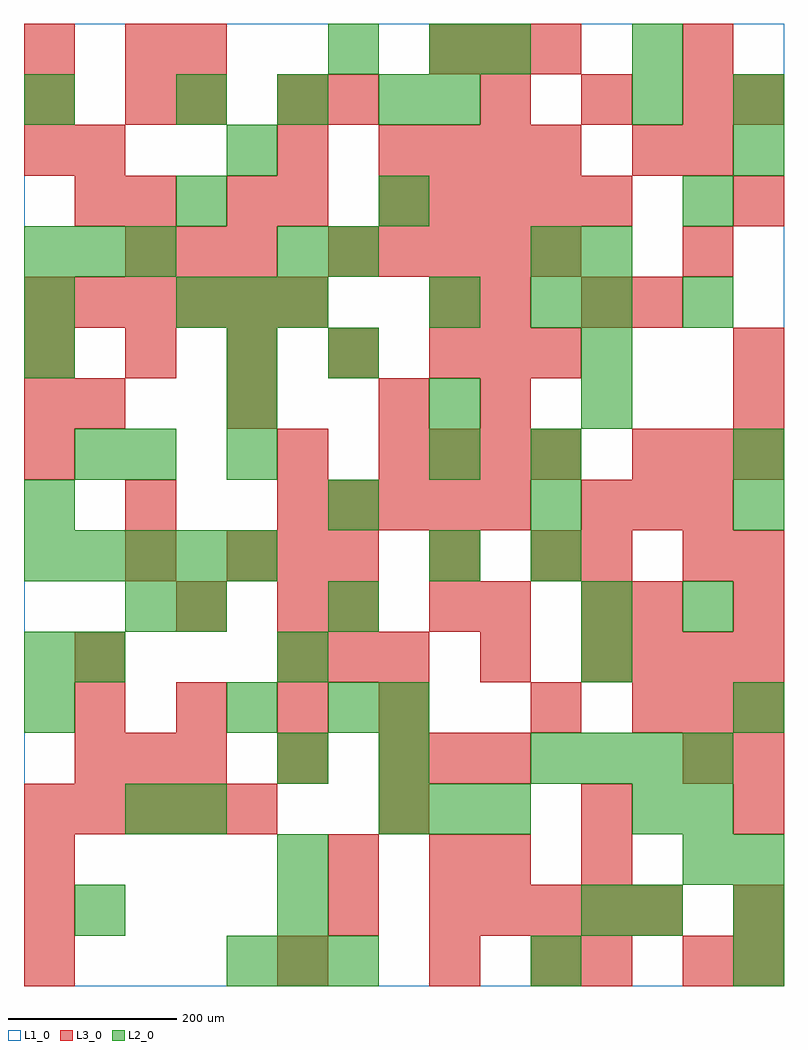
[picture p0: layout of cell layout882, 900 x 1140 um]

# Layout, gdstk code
import gdstk
lib = gdstk.Library(unit=1e-6, precision=1e-09)
def R(c, l, rs):  # rectangles x0, y0, x1, y1
    for r in rs: c.add(gdstk.rectangle(r[:2], r[2:], *l))
def A(c, l, x, y, w, h, nx, ny, dx, dy):  # array of equal rectangles
    R(c, l, [(x+i*dx, y+j*dy, x+i*dx+w, y+j*dy+h) for i in range(nx) for j in range(ny)])
L1_0 = (1, 0)
L2_0 = (2, 0)
L3_0 = (3, 0)

layout882 = lib.new_cell('layout882')
R(layout882, L1_0, [(0,0,900,1140)])
A(layout882, L2_0, 240, 0, 60, 60, 3, 1, 60, 0)
A(layout882, L2_0, 840, 0, 60, 60, 1, 3, 0, 60)
A(layout882, L2_0, 300, 120, 60, 60, 1, 3, 0, 120)
A(layout882, L2_0, 420, 180, 60, 60, 3, 1, 60, 0)
A(layout882, L2_0, 600, 240, 60, 60, 4, 1, 60, 0)
A(layout882, L2_0, 0, 360, 60, 60, 1, 3, 0, 180)
A(layout882, L2_0, 0, 480, 60, 60, 5, 1, 60, 0)
A(layout882, L2_0, 360, 540, 60, 60, 3, 1, 240, 0)
A(layout882, L2_0, 240, 600, 60, 60, 1, 3, 0, 60)
A(layout882, L2_0, 660, 660, 60, 60, 1, 4, 0, 60)
A(layout882, L2_0, 180, 780, 60, 60, 3, 1, 60, 0)
A(layout882, L2_0, 0, 840, 60, 60, 3, 1, 60, 0)
A(layout882, L2_0, 180, 1020, 60, 60, 3, 1, 120, 0)
R(layout882, L2_0, [(600,0,660,60), (60,60,120,120), (300,60,360,120), (660,60,720,120), (720,60,780,120), (780,120,840,180), (120,180,180,240), (180,180,240,240), (720,180,780,240), (780,180,840,240), (420,240,480,300), (0,300,60,360), (240,300,300,360), (360,300,420,360), (420,300,480,360), (840,300,900,360), (60,360,120,420), (660,360,720,420), (120,420,180,480), (180,420,240,480), (360,420,420,480), (660,420,720,480), (780,420,840,480), (480,480,540,540), (600,480,660,540), (60,600,120,660), (120,600,180,660), (480,600,540,660), (600,600,660,660), (840,600,900,660), (480,660,540,720), (360,720,420,780), (0,780,60,840), (480,780,540,840), (600,780,660,840), (780,780,840,840), (300,840,360,900), (360,840,420,900), (600,840,660,900), (180,900,240,960), (420,900,480,960), (780,900,840,960), (240,960,300,1020), (840,960,900,1020), (0,1020,60,1080), (480,1020,540,1080), (720,1020,780,1080), (840,1020,900,1080), (360,1080,420,1140), (480,1080,540,1140), (540,1080,600,1140), (720,1080,780,1140)])
A(layout882, L3_0, 0, 0, 60, 60, 1, 3, 0, 60)
A(layout882, L3_0, 780, 0, 60, 60, 1, 3, 0, 240)
A(layout882, L3_0, 480, 60, 60, 60, 5, 1, 60, 0)
A(layout882, L3_0, 0, 180, 60, 60, 5, 1, 60, 0)
A(layout882, L3_0, 60, 240, 60, 60, 3, 1, 60, 0)
A(layout882, L3_0, 300, 240, 60, 60, 1, 3, 0, 180)
A(layout882, L3_0, 420, 240, 60, 60, 3, 1, 60, 0)
A(layout882, L3_0, 60, 300, 60, 60, 4, 1, 120, 0)
A(layout882, L3_0, 720, 300, 60, 60, 3, 2, 60, 300)
A(layout882, L3_0, 300, 360, 60, 60, 3, 1, 60, 0)
A(layout882, L3_0, 660, 360, 60, 60, 4, 1, 60, 0)
A(layout882, L3_0, 240, 480, 60, 60, 3, 1, 60, 0)
A(layout882, L3_0, 300, 540, 60, 60, 5, 1, 60, 0)
A(layout882, L3_0, 660, 540, 60, 60, 3, 1, 60, 0)
A(layout882, L3_0, 420, 600, 60, 60, 4, 2, 60, 360)
A(layout882, L3_0, 60, 660, 60, 60, 3, 1, 180, 0)
A(layout882, L3_0, 540, 660, 60, 60, 1, 3, 0, 60)
A(layout882, L3_0, 0, 720, 60, 60, 5, 1, 120, 0)
A(layout882, L3_0, 0, 780, 60, 60, 6, 1, 60, 0)
A(layout882, L3_0, 120, 840, 60, 60, 3, 1, 60, 0)
A(layout882, L3_0, 360, 840, 60, 60, 5, 1, 60, 0)
A(layout882, L3_0, 780, 840, 60, 60, 1, 3, 0, 120)
A(layout882, L3_0, 300, 900, 60, 60, 1, 3, 0, 60)
A(layout882, L3_0, 420, 900, 60, 60, 5, 1, 60, 0)
A(layout882, L3_0, 0, 960, 60, 60, 1, 3, 0, 60)
A(layout882, L3_0, 540, 1020, 60, 60, 3, 1, 120, 0)
A(layout882, L3_0, 480, 1080, 60, 60, 3, 1, 60, 0)
R(layout882, L3_0, [(300,0,360,60), (480,0,540,60), (600,0,660,60), (660,0,720,60), (840,0,900,60), (360,60,420,120), (840,60,900,120), (360,120,420,180), (480,120,540,180), (540,120,600,180), (660,120,720,180), (420,180,480,240), (660,180,720,240), (840,180,900,240), (840,240,900,300), (600,300,660,360), (60,360,120,420), (540,360,600,420), (180,420,240,480), (360,420,420,480), (480,420,540,480), (540,420,600,480), (660,420,720,480), (720,420,780,480), (840,420,900,480), (120,480,180,540), (480,480,540,540), (600,480,660,540), (660,480,720,540), (840,480,900,540), (120,540,180,600), (0,600,60,660), (0,660,60,720), (840,660,900,720), (600,720,660,780), (840,720,900,780), (480,780,540,840), (660,780,720,840), (720,780,780,840), (60,900,120,960), (120,900,180,960), (240,900,300,960), (840,900,900,960), (60,960,120,1020), (720,960,780,1020), (120,1020,180,1080), (180,1020,240,1080), (360,1020,420,1080), (840,1020,900,1080), (120,1080,180,1140), (180,1080,240,1140)])

lib.write_gds('layout882.gds')
